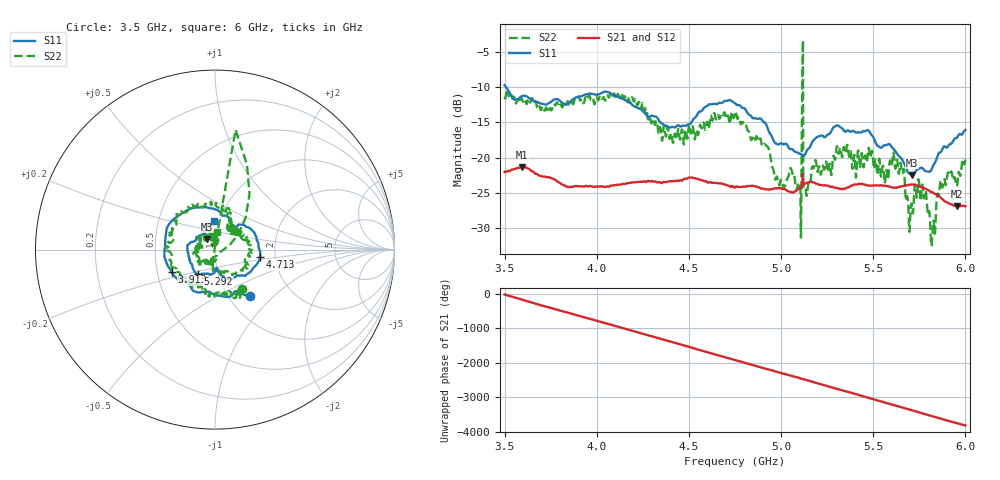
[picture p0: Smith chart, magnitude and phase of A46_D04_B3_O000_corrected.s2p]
! Created with skrf 1.9.0 (http://scikit-rf.org).
# Hz S RI R 50.0
!freq ReS11 ImS11 ReS21 ImS21 ReS12 ImS12 ReS22 ImS22
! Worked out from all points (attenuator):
!   1601 points, 3.5 GHz to 6 GHz, reference 50 ohm
!   highest |S21| = -21.33 dB at 3.595 GHz (marker M1); lowest = -26.9 dB at 5.955 GHz (marker M2)
!   lowest |S11| = -22.5 dB at 5.709 GHz (marker M3), VSWR 1.16, Z = 45.3 + j5.38 ohm
!   |S11| at or under -10 dB: 3.508 GHz to end of sweep
!   |S22| runs from -32.6 to -3.4 dB; largest |S21 - S12| = 0.001
!   S11 on the Smith chart (normalised r, x): 3.5 GHz: 1.26, -0.73; 3.913 GHz: 0.60, -0.16; 4.713 GHz: 1.66, -0.14; 5.292 GHz: 0.80, -0.23; 6 GHz: 0.94, +0.30
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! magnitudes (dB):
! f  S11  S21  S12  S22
! 3.5 GHz  -9.7  -22.0  -22.0  -11.5
! 3.595 GHz  -11.3  -21.3  -21.3  -11.8
! 3.913 GHz  -11.3  -24.1  -24.0  -11.9
! 3.917 GHz  -11.3  -24.1  -24.1  -11.7
! 4.2 GHz  -12.7  -23.5  -23.5  -12.1
! 4.334 GHz  -14.6  -23.5  -23.5  -16.4
! 4.713 GHz  -11.9  -24.0  -24.0  -14.1
! 4.75 GHz  -12.3  -24.2  -24.2  -13.6
! 5.002 GHz  -18.0  -24.4  -24.4  -23.4
! 5.097 GHz  -19.4  -24.4  -24.3  -24.2
! 5.123 GHz  -19.8  -23.9  -23.8  -24.1
! 5.133 GHz  -19.4  -23.7  -23.6  -24.4
! 5.167 GHz  -17.9  -23.5  -23.4  -21.5
! 5.292 GHz  -15.6  -24.3  -24.2  -20.3
! 5.584 GHz  -18.1  -24.1  -24.0  -22.1
! 5.656 GHz  -20.3  -24.1  -24.0  -22.2
! 5.709 GHz  -22.5  -23.8  -23.7  -26.8
! 5.775 GHz  -21.7  -24.4  -24.3  -25.8
! 5.823 GHz  -21.2  -24.9  -24.9  -29.8
! 5.858 GHz  -19.3  -25.5  -25.4  -25.0
! 5.955 GHz  -17.1  -26.9  -26.9  -24.0
! 6 GHz  -16.1  -26.9  -26.8  -20.2
